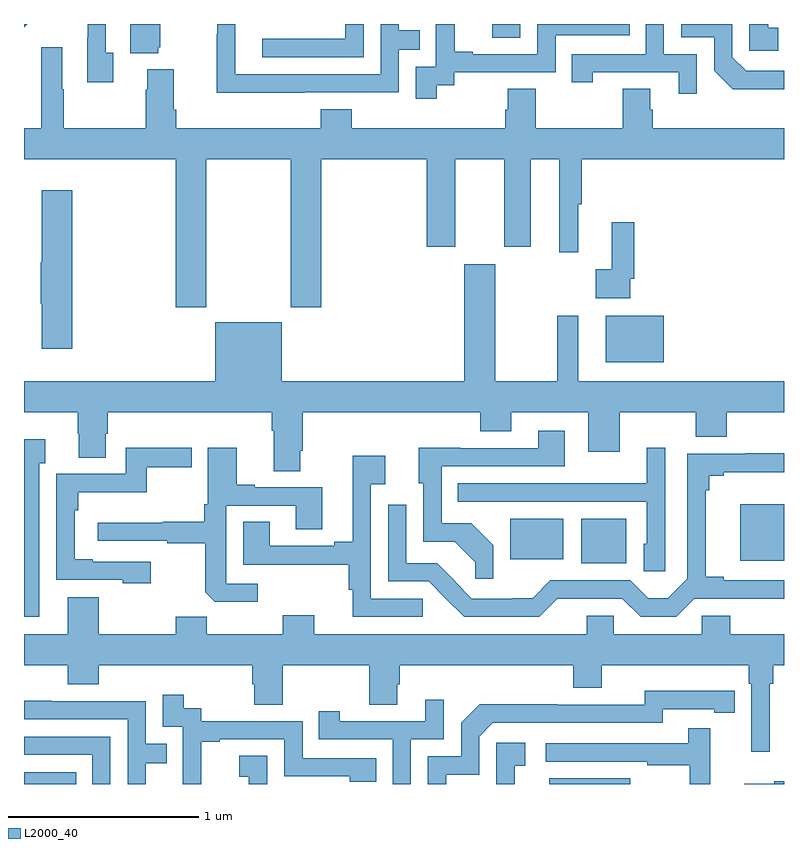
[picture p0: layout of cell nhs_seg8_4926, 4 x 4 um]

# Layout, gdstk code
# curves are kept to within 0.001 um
import gdstk
lib = gdstk.Library(unit=1e-6, precision=1e-09)
def R(c, l, rs):  # rectangles x0, y0, x1, y1
    for r in rs: c.add(gdstk.rectangle(r[:2], r[2:], *l))
def P(c, l, *ps):  # polygons
    for p in ps: c.add(gdstk.Polygon(p, *l))
L2000_40 = (2000, 40)

nhs_seg8_4926 = lib.new_cell('nhs_seg8_4926')
R(nhs_seg8_4926, L2000_40, [(409,1091.9,409.274,1091.962), (411.764,1091.9,412.192,1091.929), (411.932,1093.061,412.171,1093.297), (412.769,1093.076,413,1093.372), (411.56,1093.082,411.838,1093.297), (412.061,1094.12,412.366,1094.365), (411.465,1095.828,411.612,1095.9)])
P(nhs_seg8_4926, L2000_40, [(413,1095.654),(412.8,1095.654),(412.728,1095.726),(412.728,1095.9),(412.458,1095.9),(412.458,1095.831),(412.632,1095.831),(412.632,1095.654),(412.73,1095.557),(413,1095.557)],
  [(411.172,1095.577),(411.264,1095.577),(411.264,1095.645),(411.798,1095.645),(411.798,1095.84),(412.187,1095.84),(412.187,1095.9),(411.702,1095.9),(411.702,1095.741),(411.361,1095.741),(411.361,1095.754),(411.266,1095.754),(411.266,1095.9),(411.168,1095.9),(411.168,1095.675),(411.063,1095.675),(411.063,1095.507),(411.172,1095.507)],
  [(412.542,1095.741),(412.368,1095.741),(412.368,1095.9),(412.272,1095.9),(412.272,1095.741),(411.883,1095.741),(411.883,1095.594),(411.994,1095.594),(411.994,1095.645),(412.445,1095.645),(412.445,1095.534),(412.542,1095.534)],
  [(409.706,1095.777),(409.717,1095.777),(409.717,1095.9),(409.559,1095.9),(409.559,1095.746),(409.706,1095.746)],
  [(412.969,1095.879),(412.916,1095.879),(412.916,1095.9),(412.818,1095.9),(412.818,1095.759),(412.969,1095.759)],
  [(410.477,1095.54),(410.973,1095.54),(410.973,1095.765),(411.083,1095.765),(411.083,1095.866),(410.973,1095.866),(410.973,1095.9),(410.877,1095.9),(410.877,1095.636),(410.113,1095.636),(410.113,1095.878),(410.112,1095.878),(410.112,1095.9),(410.016,1095.9),(410.016,1095.845),(410.014,1095.845),(410.014,1095.539),(410.477,1095.539)],
  [(409.018,1095.9),(409,1095.9),(409,1095.882)],
  [(410.787,1095.9),(410.691,1095.9),(410.691,1095.822),(410.253,1095.822),(410.253,1095.726),(410.787,1095.726)],
  [(409.471,1095.75),(409.431,1095.75),(409.431,1095.9),(409.335,1095.9),(409.335,1095.827),(409.334,1095.827),(409.334,1095.594),(409.471,1095.594)],
  [(409.959,1095.188),(410.404,1095.188),(410.404,1094.409),(410.564,1094.409),(410.564,1095.188),(411.119,1095.188),(411.119,1094.727),(411.271,1094.727),(411.271,1095.188),(411.527,1095.188),(411.527,1094.727),(411.667,1094.727),(411.667,1095.188),(411.818,1095.188),(411.818,1094.7),(411.917,1094.7),(411.917,1094.952),(411.935,1094.952),(411.935,1095.188),(413,1095.188),(413,1095.352),(412.31,1095.352),(412.31,1095.45),(412.297,1095.45),(412.297,1095.56),(412.15,1095.56),(412.15,1095.352),(411.693,1095.352),(411.693,1095.56),(411.545,1095.56),(411.545,1095.45),(411.533,1095.45),(411.533,1095.352),(410.726,1095.352),(410.726,1095.451),(410.561,1095.451),(410.561,1095.352),(409.802,1095.352),(409.802,1095.448),(409.789,1095.448),(409.789,1095.661),(409.649,1095.661),(409.649,1095.554),(409.642,1095.554),(409.642,1095.352),(409.209,1095.352),(409.209,1095.557),(409.201,1095.557),(409.201,1095.778),(409.091,1095.778),(409.091,1095.352),(409,1095.352),(409,1095.188),(409.799,1095.188),(409.799,1094.409),(409.959,1094.409)],
  [(409.253,1095.025),(409.094,1095.025),(409.094,1094.645),(409.087,1094.645),(409.087,1094.428),(409.094,1094.428),(409.094,1094.19),(409.253,1094.19)],
  [(412.191,1094.56),(412.211,1094.56),(412.211,1094.857),(412.094,1094.857),(412.094,1094.609),(412.008,1094.609),(412.008,1094.456),(412.191,1094.456)],
  [(410.455,1093.654),(410.468,1093.654),(410.468,1093.856),(411.401,1093.856),(411.401,1093.757),(411.565,1093.757),(411.565,1093.856),(411.971,1093.856),(411.971,1093.65),(412.135,1093.65),(412.135,1093.856),(412.535,1093.856),(412.535,1093.728),(412.699,1093.728),(412.699,1093.856),(413,1093.856),(413,1094.02),(411.916,1094.02),(411.916,1094.365),(411.807,1094.365),(411.807,1094.02),(411.481,1094.02),(411.481,1094.635),(411.317,1094.635),(411.317,1094.02),(410.356,1094.02),(410.356,1094.329),(410.006,1094.329),(410.006,1094.02),(409,1094.02),(409,1093.856),(409.282,1093.856),(409.282,1093.743),(409.289,1093.743),(409.289,1093.618),(409.429,1093.618),(409.429,1093.743),(409.442,1093.743),(409.442,1093.856),(410.303,1093.856),(410.303,1093.76),(410.315,1093.76),(410.315,1093.546),(410.455,1093.546)],
  [(411.471,1093.156),(411.355,1093.272),(411.198,1093.272),(411.198,1093.572),(411.847,1093.572),(411.847,1093.759),(411.707,1093.759),(411.707,1093.668),(411.295,1093.668),(411.295,1093.67),(411.077,1093.67),(411.077,1093.482),(411.102,1093.482),(411.102,1093.176),(411.268,1093.176),(411.376,1093.068),(411.376,1092.981),(411.471,1092.981)],
  [(409.081,1093.589),(409.111,1093.589),(409.111,1093.714),(409,1093.714),(409,1092.779),(409.081,1092.779)],
  [(409.666,1093.071),(409.363,1093.071),(409.363,1093.084),(409.266,1093.084),(409.266,1093.34),(409.286,1093.34),(409.286,1093.436),(409.645,1093.436),(409.645,1093.567),(409.882,1093.567),(409.882,1093.67),(409.536,1093.67),(409.536,1093.533),(409.17,1093.533),(409.17,1092.975),(409.521,1092.975),(409.521,1092.956),(409.666,1092.956)],
  [(412.374,1093.669),(412.277,1093.669),(412.277,1093.483),(411.943,1093.483),(411.943,1093.482),(411.283,1093.482),(411.283,1093.386),(412.278,1093.386),(412.278,1093.164),(412.262,1093.164),(412.262,1093.021),(412.374,1093.021)],
  [(410.23,1092.954),(410.064,1092.954),(410.064,1093.365),(410.429,1093.365),(410.429,1093.24),(410.569,1093.24),(410.569,1093.461),(410.215,1093.461),(410.215,1093.474),(410.119,1093.474),(410.119,1093.669),(409.968,1093.669),(409.968,1093.372),(409.948,1093.372),(409.948,1093.28),(409.729,1093.28),(409.729,1093.276),(409.389,1093.276),(409.389,1093.179),(409.753,1093.179),(409.753,1093.167),(409.953,1093.167),(409.953,1092.909),(410.005,1092.858),(410.23,1092.858)],
  [(411.806,1092.875),(412.149,1092.876),(412.245,1092.78),(412.432,1092.78),(412.528,1092.876),(413,1092.875),(413,1092.972),(412.684,1092.972),(412.684,1092.992),(412.589,1092.992),(412.589,1093.445),(412.607,1093.445),(412.607,1093.522),(412.684,1093.522),(412.684,1093.541),(413,1093.541),(413,1093.64),(412.795,1093.64),(412.795,1093.638),(412.491,1093.638),(412.491,1092.981),(412.387,1092.877),(412.286,1092.877),(412.191,1092.972),(411.771,1092.972),(411.677,1092.878),(411.572,1092.878),(411.572,1092.876),(411.357,1092.876),(411.267,1092.966),(411.269,1092.968),(411.175,1093.062),(411.012,1093.062),(411.012,1093.369),(410.916,1093.369),(410.916,1092.966),(411.129,1092.966),(411.317,1092.78),(411.711,1092.78)],
  [(411.099,1092.876),(410.826,1092.876),(410.826,1093.478),(410.902,1093.478),(410.902,1093.627),(410.729,1093.627),(410.729,1093.175),(410.633,1093.175),(410.633,1093.155),(410.293,1093.155),(410.293,1093.28),(410.153,1093.28),(410.153,1093.054),(410.71,1093.054),(410.71,1092.923),(410.729,1092.923),(410.729,1092.78),(411.099,1092.78)],
  [(412.924,1092.428),(412.943,1092.428),(412.943,1092.524),(413,1092.524),(413,1092.688),(412.718,1092.688),(412.718,1092.786),(412.566,1092.786),(412.566,1092.688),(412.104,1092.688),(412.104,1092.786),(411.962,1092.786),(411.962,1092.688),(410.527,1092.688),(410.527,1092.787),(410.363,1092.787),(410.363,1092.688),(409.963,1092.688),(409.963,1092.781),(409.799,1092.781),(409.799,1092.688),(409.393,1092.688),(409.393,1092.883),(409.229,1092.883),(409.229,1092.688),(409,1092.688),(409,1092.524),(409.229,1092.524),(409.229,1092.425),(409.394,1092.425),(409.394,1092.524),(410.201,1092.524),(410.201,1092.426),(410.213,1092.426),(410.213,1092.316),(410.361,1092.316),(410.361,1092.524),(410.818,1092.524),(410.818,1092.316),(410.965,1092.316),(410.965,1092.426),(410.978,1092.426),(410.978,1092.524),(411.89,1092.524),(411.89,1092.407),(412.042,1092.407),(412.042,1092.524),(412.814,1092.524),(412.814,1092.428),(412.827,1092.428),(412.827,1092.069),(412.924,1092.069)],
  [(411.223,1091.949),(411.396,1091.949),(411.396,1092.15),(411.468,1092.222),(412.362,1092.222),(412.362,1092.294),(412.634,1092.294),(412.634,1092.274),(412.742,1092.274),(412.742,1092.39),(412.266,1092.391),(412.266,1092.318),(411.806,1092.318),(411.806,1092.32),(411.398,1092.32),(411.3,1092.222),(411.3,1092.045),(411.126,1092.045),(411.126,1091.9),(411.223,1091.9)],
  [(409.934,1092.123),(410.029,1092.123),(410.029,1092.135),(410.37,1092.135),(410.37,1091.94),(410.715,1091.94),(410.715,1091.913),(410.855,1091.913),(410.855,1092.036),(410.466,1092.036),(410.466,1092.231),(409.932,1092.231),(409.932,1092.3),(409.84,1092.3),(409.84,1092.37),(409.731,1092.37),(409.731,1092.201),(409.836,1092.201),(409.836,1091.972),(409.835,1091.972),(409.835,1091.9),(409.934,1091.9)],
  [(411.036,1092.135),(411.21,1092.135),(411.21,1092.343),(411.113,1092.343),(411.113,1092.231),(410.662,1092.231),(410.662,1092.283),(410.551,1092.283),(410.551,1092.135),(410.94,1092.135),(410.94,1091.9),(411.036,1091.9)],
  [(409.641,1092.01),(409.751,1092.01),(409.751,1092.111),(409.641,1092.111),(409.641,1092.336),(409.145,1092.336),(409.145,1092.338),(409,1092.338),(409,1092.24),(409.545,1092.24),(409.545,1091.9),(409.641,1091.9)],
  [(412.612,1092.193),(412.495,1092.193),(412.495,1092.114),(411.747,1092.114),(411.747,1092.018),(412.279,1092.018),(412.279,1091.998),(412.503,1091.998),(412.503,1091.9),(412.612,1091.9)],
  [(409.455,1092.15),(409,1092.15),(409,1092.054),(409.359,1092.054),(409.359,1091.9),(409.455,1091.9)],
  [(411.584,1091.997),(411.637,1091.997),(411.637,1092.118),(411.486,1092.118),(411.486,1091.9),(411.584,1091.9)],
  [(410.28,1092.049),(410.133,1092.049),(410.133,1091.939),(410.182,1091.939),(410.182,1091.9),(410.28,1091.9)],
  [(413,1091.915),(412.949,1091.915),(412.949,1091.902),(412.791,1091.902),(412.791,1091.9),(413,1091.9)])

lib.write_gds('nhs_seg8_4926.gds')
